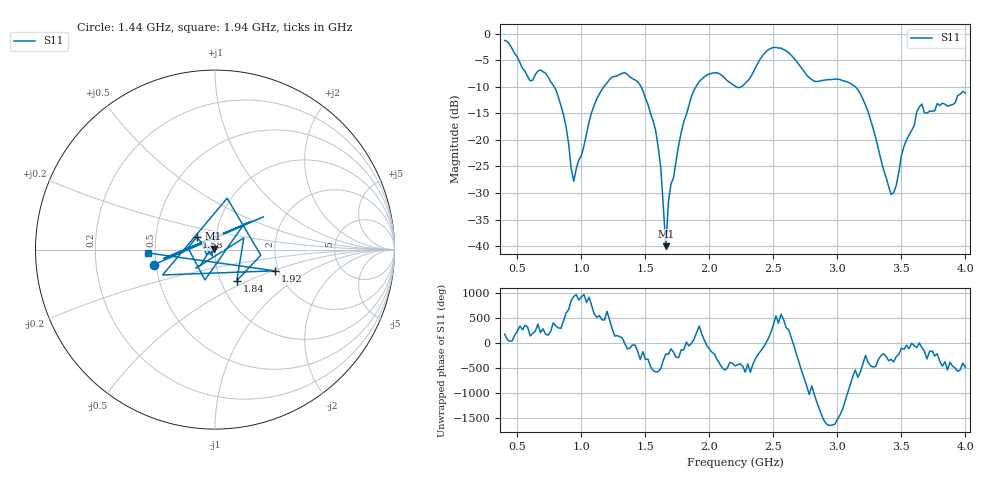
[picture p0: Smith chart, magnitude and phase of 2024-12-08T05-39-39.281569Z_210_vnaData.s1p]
!Created with skrf (http://scikit-rf.org).
# Hz S RI R 50.0
!freq ReS11 ImS11
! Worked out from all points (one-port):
!   181 points, 400 MHz to 4 GHz, reference 50 ohm
!   lowest |S11| = -40.0 dB at 1.66 GHz (marker M1), VSWR 1.02, Z = 49.2 + j0.571 ohm
!   |S11| at or under -10 dB: 786.9 MHz to 1.175 GHz (388.2 MHz wide, 39.6 % of centre); 1.466 GHz to 1.895 GHz (429.2 MHz wide, 25.5 % of centre); 3.141 GHz to end of sweep (the widest 3 of 4)
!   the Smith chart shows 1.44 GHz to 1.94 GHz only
!   S11 on the Smith chart (normalised r, x): 1.44 GHz: 0.48, -0.09; 1.58 GHz: 0.81, +0.11; 1.84 GHz: 1.19, -0.43; 1.92 GHz: 1.91, -0.52; 1.94 GHz: 0.46, -0.02
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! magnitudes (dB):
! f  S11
! 400 MHz  -1.3
! 600 MHz  -8.9
! 720 MHz  -7.4
! 860 MHz  -15.2
! 940 MHz  -27.8
! 1.12 GHz  -12.2
! 1.3 GHz  -7.7
! 1.44 GHz  -9.0
! 1.58 GHz  -18.2
! 1.62 GHz  -25.2
! 1.66 GHz  -40.0
! 1.68 GHz  -31.6
! 1.76 GHz  -21.0
! 1.84 GHz  -13.5
! 1.92 GHz  -9.0
! 1.94 GHz  -8.6
! 2.06 GHz  -7.4
! 2.2 GHz  -9.8
! 2.48 GHz  -2.7
! 2.66 GHz  -4.6
! 2.82 GHz  -9.0
! 3.1 GHz  -9.3
! 3.24 GHz  -14.7
! 3.42 GHz  -30.3
! 3.56 GHz  -19.0
! 3.66 GHz  -13.2
! 3.7 GHz  -14.9
! 4 GHz  -11.2
